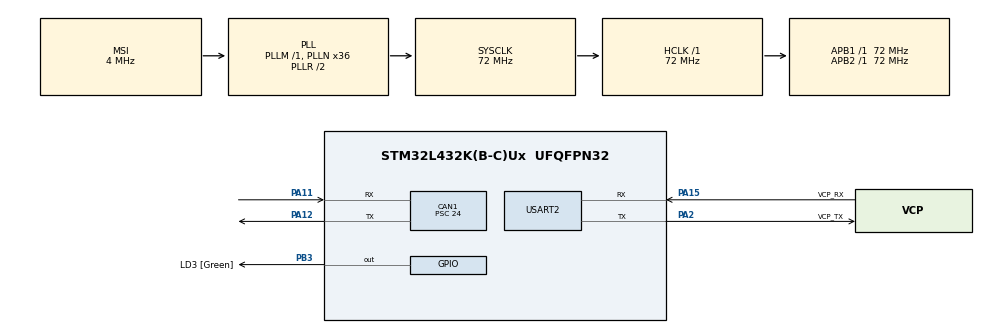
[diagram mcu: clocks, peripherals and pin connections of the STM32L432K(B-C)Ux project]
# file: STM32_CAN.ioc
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CAN1.BS1=CAN_BS1_2TQ
CAN1.BS2=CAN_BS2_3TQ
CAN1.CalculateBaudRate=499999
CAN1.CalculateTimeBit=2000
CAN1.CalculateTimeQuantum=333.33333333333337
CAN1.Prescaler=24
CAN1.SJW=CAN_SJW_2TQ
Mcu.Family=STM32L4
Mcu.Name=STM32L432K(B-C)Ux
Mcu.Package=UFQFPN32
NVIC.PriorityGroup=NVIC_PRIORITYGROUP_4
PA0.GPIO_Label=MCO [High speed clock in]
PA0.Mode=HSE-External-Clock-Source-for-LittleOrca
PA0.Signal=RCC_CK_IN
PA11.Mode=CAN_Activate
PA11.Signal=CAN1_RX
PA12.Mode=CAN_Activate
PA12.Signal=CAN1_TX
PA13\ (JTMS-SWDIO).GPIO_Label=SWDIO
PA13\ (JTMS-SWDIO).Mode=Serial_Wire
PA13\ (JTMS-SWDIO).Signal=SYS_JTMS-SWDIO
PA14\ (JTCK-SWCLK).GPIO_Label=SWCLK
PA14\ (JTCK-SWCLK).Mode=Serial_Wire
PA14\ (JTCK-SWCLK).Signal=SYS_JTCK-SWCLK
PA15\ (JTDI).GPIO_Label=VCP_RX
PA15\ (JTDI).Mode=Asynchronous
PA15\ (JTDI).Signal=USART2_RX
PA2.GPIO_Label=VCP_TX
PA2.Mode=Asynchronous
PA2.Signal=USART2_TX
PB3\ (JTDO-TRACESWO).GPIO_Label=LD3 [Green]
PB3\ (JTDO-TRACESWO).Signal=GPIO_Output
PC14-OSC32_IN\ (PC14).Mode=LSE-External-Oscillator
PC14-OSC32_IN\ (PC14).Signal=RCC_OSC32_IN
PC15-OSC32_OUT\ (PC15).Mode=LSE-External-Oscillator
PC15-OSC32_OUT\ (PC15).Signal=RCC_OSC32_OUT
ProjectManager.HeapSize=0x200
ProjectManager.StackSize=0x400
ProjectManager.TargetToolchain=STM32CubeIDE
RCC.AHBFreq_Value=72000000
RCC.APB1Freq_Value=72000000
RCC.APB1TimFreq_Value=72000000
RCC.APB2Freq_Value=72000000
RCC.APB2TimFreq_Value=72000000
RCC.CortexFreq_Value=72000000
RCC.HCLKFreq_Value=72000000
RCC.HSE_VALUE=8000000
RCC.HSI16_VALUE=16000000
RCC.HSI48_VALUE=48000000
RCC.HSI_VALUE=16000000
RCC.MSI_VALUE=4000000
RCC.PLLMUL=RCC_PLLMUL_4
RCC.PLLN=36
RCC.SYSCLKFreq_VALUE=72000000
RCC.SYSCLKSource=RCC_SYSCLKSOURCE_PLLCLK
RCC.VCOOutputFreq_Value=144000000
USART2.VirtualMode-Asynchronous=VM_ASYNC
board=NUCLEO-L432KC

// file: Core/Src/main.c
/* USER CODE BEGIN Header */
/**
  ******************************************************************************
  * @file           : main.c
  * @brief          : Main program body
  ******************************************************************************
  * @attention
  *
  * Copyright (c) 2024 STMicroelectronics.
  * All rights reserved.
  *
  * This software is licensed under terms that can be found in the LICENSE file
  * in the root directory of this software component.
  * If no LICENSE file comes with this software, it is provided AS-IS.
  *
  ******************************************************************************
  */
/* USER CODE END Header */
#include "main.h"
#include "can.h"
#include "usart.h"
#include "gpio.h"

/* USER CODE BEGIN PV */
extern CAN_HandleTypeDef hcan1;

/* USER CODE END PV */

void SystemClock_Config(void);

/* USER CODE BEGIN 0 */

//CAN_TxHeaderTypeDef   TxHeader;
//CAN_RxHeaderTypeDef   RxHeader;
//
//uint8_t               TxData[8];
//uint8_t               RxData[8];
//
//uint8_t count = 0;
//
//uint32_t              TxMailbox;
//
//
//
//
//void HAL_CAN_RxFifoMsgPendingCallback(CAN_HandleTypeDef *hcan)
//{
//	count++;
//}

CAN_TxHeaderTypeDef TxHeader;
CAN_RxHeaderTypeDef RxHeader;

uint32_t TxMailbox[4];

uint8_t TxData[8];
uint8_t RxData[8];

uint8_t count = 0;

void HAL_CAN_RxFifo0MsgPendingCallback(CAN_HandleTypeDef *hcan)
{
	HAL_CAN_GetRxMessage(hcan, CAN_RX_FIFO0, &RxHeader, RxData);
	count++;
}

/* USER CODE END 0 */

int main(void)
{

  /* MCU Configuration--------------------------------------------------------*/

  /* Reset of all peripherals, Initializes the Flash interface and the Systick. */
  HAL_Init();

  /* Configure the system clock */
  SystemClock_Config();

  /* Initialize all configured peripherals */
  MX_GPIO_Init();
  MX_USART2_UART_Init();
  MX_CAN1_Init();
  /* USER CODE BEGIN 2 */

  HAL_CAN_Start(&hcan1);

  HAL_CAN_ActivateNotification(&hcan1, CAN_IT_RX_FIFO0_MSG_PENDING);

  TxHeader.DLC = 2;
  TxHeader.ExtId = 0;
  TxHeader.IDE = CAN_ID_STD;
  TxHeader.RTR = CAN_RTR_DATA;
  TxHeader.StdId = 0x111;
  TxHeader.TransmitGlobalTime = DISABLE;

  TxData[0] = 0x01;
  TxData[1] = 0x02;
  TxData[2] = 0x03;
  TxData[3] = 0x04;

  /* USER CODE END 2 */

  /* Infinite loop */
  /* USER CODE BEGIN WHILE */
  int i =0;
  while (1)
  {
    /* USER CODE END WHILE */

    /* USER CODE BEGIN 3 */

	  HAL_Delay(200);

	  i++;
	  TxData[0] = i;

	  if (HAL_CAN_AddTxMessage(&hcan1, &TxHeader, &TxData[0], &TxMailbox[0]) != HAL_OK)
	  {
		  Error_Handler();
	  }

  }
  /* USER CODE END 3 */
}

void SystemClock_Config(void)
{
  RCC_OscInitTypeDef RCC_OscInitStruct = {0};
  RCC_ClkInitTypeDef RCC_ClkInitStruct = {0};

  /** Configure the main internal regulator output voltage
  */
  if (HAL_PWREx_ControlVoltageScaling(PWR_REGULATOR_VOLTAGE_SCALE1) != HAL_OK)
  {
    Error_Handler();
  }

  /** Configure LSE Drive Capability
  */
  HAL_PWR_EnableBkUpAccess();
  __HAL_RCC_LSEDRIVE_CONFIG(RCC_LSEDRIVE_LOW);

  /** Initializes the RCC Oscillators according to the specified parameters
  * in the RCC_OscInitTypeDef structure.
  */
  RCC_OscInitStruct.OscillatorType = RCC_OSCILLATORTYPE_LSE|RCC_OSCILLATORTYPE_MSI;
  RCC_OscInitStruct.LSEState = RCC_LSE_ON;
  RCC_OscInitStruct.MSIState = RCC_MSI_ON;
  RCC_OscInitStruct.MSICalibrationValue = 0;
  RCC_OscInitStruct.MSIClockRange = RCC_MSIRANGE_6;
  RCC_OscInitStruct.PLL.PLLState = RCC_PLL_ON;
  RCC_OscInitStruct.PLL.PLLSource = RCC_PLLSOURCE_MSI;
  RCC_OscInitStruct.PLL.PLLM = 1;
  RCC_OscInitStruct.PLL.PLLN = 36;
  RCC_OscInitStruct.PLL.PLLP = RCC_PLLP_DIV7;
  RCC_OscInitStruct.PLL.PLLQ = RCC_PLLQ_DIV2;
  RCC_OscInitStruct.PLL.PLLR = RCC_PLLR_DIV2;
  if (HAL_RCC_OscConfig(&RCC_OscInitStruct) != HAL_OK)
  {
    Error_Handler();
  }

  /** Initializes the CPU, AHB and APB buses clocks
  */
  RCC_ClkInitStruct.ClockType = RCC_CLOCKTYPE_HCLK|RCC_CLOCKTYPE_SYSCLK
                              |RCC_CLOCKTYPE_PCLK1|RCC_CLOCKTYPE_PCLK2;
  RCC_ClkInitStruct.SYSCLKSource = RCC_SYSCLKSOURCE_PLLCLK;
  RCC_ClkInitStruct.AHBCLKDivider = RCC_SYSCLK_DIV1;
  RCC_ClkInitStruct.APB1CLKDivider = RCC_HCLK_DIV1;
  RCC_ClkInitStruct.APB2CLKDivider = RCC_HCLK_DIV1;

  if (HAL_RCC_ClockConfig(&RCC_ClkInitStruct, FLASH_LATENCY_4) != HAL_OK)
  {
    Error_Handler();
  }

  /** Enable MSI Auto calibration
  */
  HAL_RCCEx_EnableMSIPLLMode();
}

void Error_Handler(void)
{
  __disable_irq();
  while (1)
  {
  }
}
